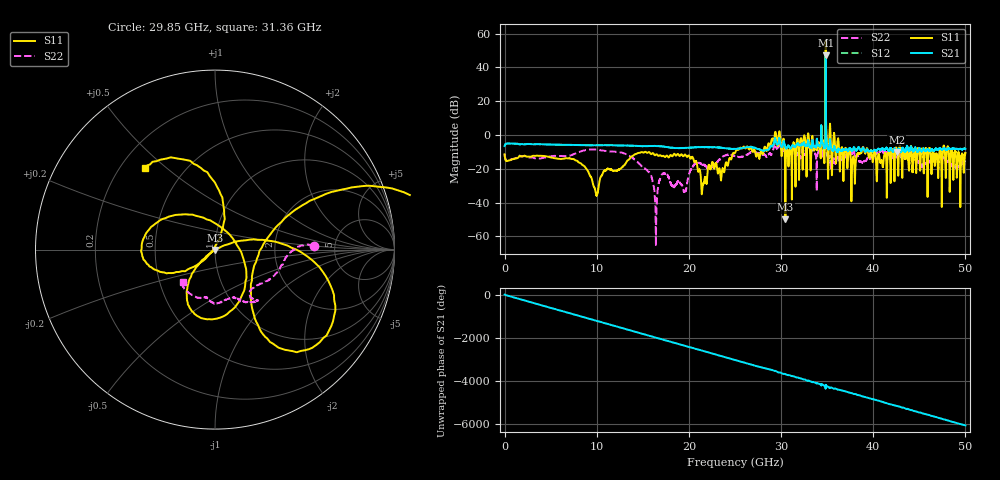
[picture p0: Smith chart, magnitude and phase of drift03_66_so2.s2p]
!Created with skrf (http://scikit-rf.org).
# Hz S RI R 50.0
!freq ReS11 ImS11 ReS21 ImS21 ReS12 ImS12 ReS22 ImS22
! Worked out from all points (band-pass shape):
!   10001 points, 300 kHz to 50 GHz, reference 50 ohm
!   highest |S21| = 47.17 dB at 34.85 GHz (marker M1); lowest = -10.3 dB at 42.55 GHz (marker M2)
!   |S21| within 3 dB of the highest: 34.8446 GHz to 34.8455 GHz (902.9 kHz wide, 0.00259 % of centre)
!   lowest |S11| = -49.8 dB at 30.47 GHz (marker M3), VSWR 1.01, Z = 49.8 - j0.279 ohm
!   |S11| at or under -10 dB: start of sweep to 15.23 GHz; 15.31 GHz to 25.05 GHz (9.74 GHz wide, 48.3 % of centre); 40.22 GHz to 41.61 GHz (1.394 GHz wide, 3.41 % of centre) (the widest 3 of 55)
!   |S22| runs from -65.8 to 38.2 dB; largest |S21 - S12| = 33
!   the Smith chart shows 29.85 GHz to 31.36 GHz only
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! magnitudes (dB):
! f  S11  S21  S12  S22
! 300 kHz  -11.4  -6.5  -6.5  -11.3
! 8.335 GHz  -17.1  -6.0  -6.0  -9.6
! 9.955 GHz  -35.7  -6.1  -6.1  -8.7
! 10.91 GHz  -21.0  -6.0  -6.1  -9.4
! 13.79 GHz  -12.6  -6.3  -6.3  -13.2
! 16.37 GHz  -11.9  -6.5  -6.5  -42.9
! 16.67 GHz  -12.4  -6.5  -6.5  -30.1
! 17.34 GHz  -12.8  -6.9  -6.9  -22.9
! 19.55 GHz  -11.6  -7.7  -7.7  -33.4
! 20.22 GHz  -13.9  -7.5  -7.5  -20.4
! 21.55 GHz  -28.7  -7.2  -7.2  -17.8
! 25 GHz  -10.6  -8.3  -8.2  -12.5
! 29.6 GHz  -5.6  -5.7  -5.9  -7.8
! 30.47 GHz  -49.8  -7.2  -7.2  -9.0
! 33.34 GHz  -3.8  -6.8  -6.7  -9.3
! 34.85 GHz  55.9  47.2  47.0  38.2
! 35.61 GHz  -8.2  -9.4  -9.2  -16.7
! 37.83 GHz  -12.8  -8.2  -8.3  -9.8
! 38.82 GHz  -8.3  -8.0  -8.1  -16.3
! 41.67 GHz  -9.2  -9.4  -9.3  -11.5
! 42.55 GHz  -8.3  -10.3  -10.3  -13.4
! 50 GHz  -10.6  -8.3  -8.2  -15.5
